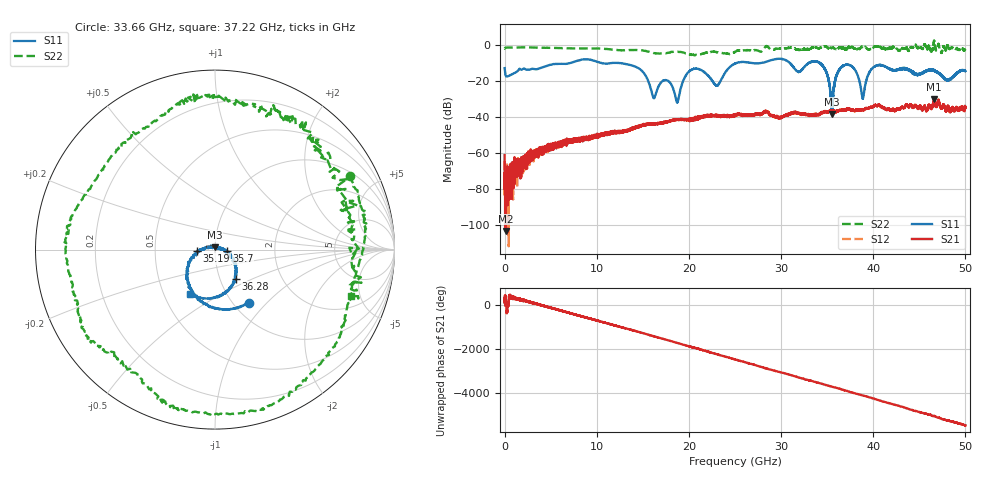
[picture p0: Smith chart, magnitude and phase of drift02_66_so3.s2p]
!Created with skrf (http://scikit-rf.org).
# Hz S RI R 50.0
!freq ReS11 ImS11 ReS21 ImS21 ReS12 ImS12 ReS22 ImS22
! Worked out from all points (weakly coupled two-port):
!   10001 points, 300 kHz to 50 GHz, reference 50 ohm
!   highest |S21| = -30.26 dB at 46.61 GHz (marker M1); lowest = -103.4 dB at 105.3 MHz (marker M2)
!   lowest |S11| = -38.4 dB at 35.5 GHz (marker M3), VSWR 1.02, Z = 49.9 + j1.19 ohm
!   |S11| at or under -10 dB: start of sweep to 7.181 GHz; 12.36 GHz to 25.17 GHz (12.81 GHz wide, 68.3 % of centre); 34.2 GHz to end of sweep (the widest 3 of 16)
!   |S22| runs from -5.7 to 2.5 dB; largest |S21 - S12| = 0.0035
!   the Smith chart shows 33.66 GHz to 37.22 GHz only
!   S11 on the Smith chart (normalised r, x): 33.66 GHz: 1.17, -0.79; 35.19 GHz: 0.82, -0.01; 35.7 GHz: 1.14, -0.02; 36.28 GHz: 1.19, -0.41; 37.22 GHz: 0.68, -0.36
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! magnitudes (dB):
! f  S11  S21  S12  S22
! 300 kHz  -12.9  -61.2  -64.6  -2.1
! 105.3 MHz  -16.8  -103.4  -79.3  -1.5
! 8.335 GHz  -8.2  -51.4  -52.3  -1.9
! 14.03 GHz  -11.8  -46.3  -46.1  -2.8
! 16.15 GHz  -29.4  -43.7  -43.9  -4.5
! 16.67 GHz  -23.4  -43.7  -43.6  -4.7
! 18.74 GHz  -32.0  -41.5  -41.5  -3.7
! 20.23 GHz  -13.9  -41.4  -41.3  -5.5
! 23.04 GHz  -22.5  -39.4  -39.4  -4.1
! 25 GHz  -10.4  -39.1  -38.9  -3.9
! 33.34 GHz  -9.3  -38.9  -38.8  -1.6
! 33.66 GHz  -9.1  -39.0  -38.8  -1.3
! 35.19 GHz  -20.0  -37.1  -36.9  -1.6
! 35.5 GHz  -38.4  -36.9  -36.8  -1.8
! 35.7 GHz  -23.7  -36.8  -36.5  -1.7
! 36.28 GHz  -13.9  -36.5  -36.7  -1.6
! 37.22 GHz  -11.0  -35.5  -35.6  -1.9
! 38.86 GHz  -29.9  -36.1  -36.0  -1.4
! 39.94 GHz  -12.8  -34.4  -34.5  -2.0
! 41.67 GHz  -13.0  -35.5  -35.8  -1.9
! 46.61 GHz  -14.3  -30.3  -29.9  2.5
! 50 GHz  -14.5  -34.8  -34.2  -2.8
